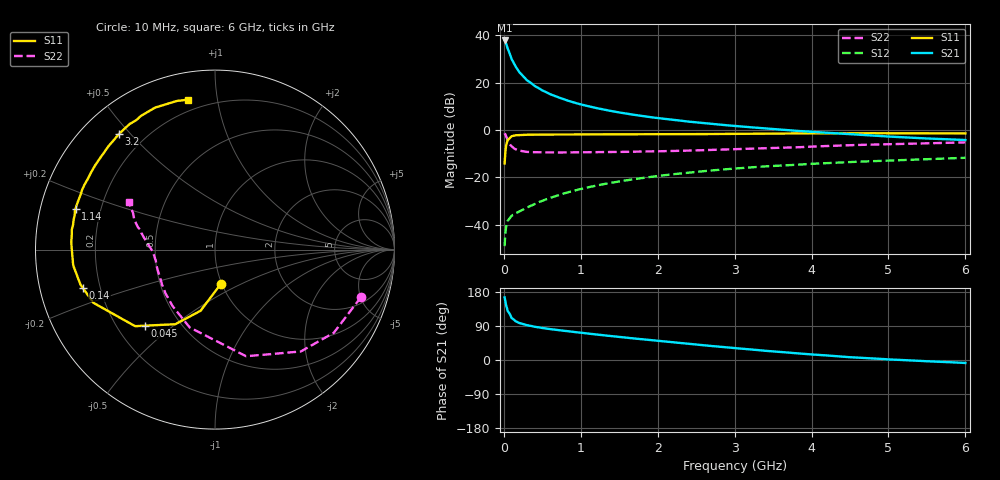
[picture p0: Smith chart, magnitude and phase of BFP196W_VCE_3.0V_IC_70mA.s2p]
! Infineon Technologies  Discrete & RF Semiconductors
! BFP196W
! VCE = 3.0 V,  IC =  70mA
! Common Emitter S-Parameters:  Jan 2016
# GHz  S  MA  R  50
!  f  S11  S21  S12  S22
! GHz  MAG  ANG  MAG  ANG  MAG  ANG  MAG  ANG
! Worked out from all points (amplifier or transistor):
!   210 points, 10 MHz to 6 GHz, reference 50 ohm
!   highest |S21| = 37.9 dB at 10 MHz (marker M1)
!   |S21| within 3 dB of that: start of sweep to 45.73 MHz
!   unconditionally stable (mu >= 1): 509.8 MHz to 3.371 GHz; 3.745 GHz to 3.831 GHz
!   at 185 MHz: K = 0.65, MSG = 30.0 dB, |S12| = -34.7 dB
!   at 1.52 GHz: K = 1.11, MAG = 12.5 dB, |S12| = -21.6 dB
!   at 6 GHz: K = 0.98, MSG = 3.8 dB, |S12| = -11.7 dB
!   S11 on the Smith chart (normalised r, x): 10 MHz: 0.98, -0.40; 45 MHz: 0.32, -0.40; 140 MHz: 0.14, -0.14; 1.14 GHz: 0.11, +0.14; 3.2 GHz: 0.11, +0.46; 6 GHz: 0.14, +0.83
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0.01  0.1958 -80.9  78.38 165.2  0.0035 73.0  0.8555 -18.0
0.02  0.3504 -103.3  74.13 154.2  0.0068 68.3  0.808 -35.0
0.03  0.4708 -118.0  67.05 144.1  0.009 60.1  0.7421 -49.9
0.045  0.5753 -132.5  55.96 133.5  0.0112 50.9  0.6381 -67.0
0.05  0.6164 -136.2  52.81 129.0  0.012 48.6  0.6187 -73.8
0.1  0.7398 -156.4  31.85 111.0  0.0153 40.9  0.4557 -108.1
0.14  0.7662 -163.7  24.06 104.6  0.0168 42.0  0.402 -122.8
0.15  0.7746 -165.4  22.18 102.3  0.0172 42.3  0.3933 -127.0
0.2  0.7844 -170.3  16.84 97.7  0.0189 45.3  0.368 -138.5
0.24  0.7926 -173.0  14.28 95.1  0.0204 47.3  0.3577 -144.1
0.3  0.795 -175.9  11.33 91.9  0.0229 50.9  0.3452 -151.3
0.4  0.7978 180.0  8.567 87.7  0.0272 55.6  0.3401 -158.0
0.6  0.8014 174.5  5.746 81.6  0.0367 60.5  0.3363 -165.9
0.8  0.8026 170.0  4.335 76.5  0.0465 62.9  0.336 -169.7
1.02  0.8057 165.9  3.416 71.6  0.0576 63.9  0.3386 -172.8
1.14  0.8099 163.6  3.079 68.8  0.0637 63.9  0.3397 -174.0
2.02  0.813 148.4  1.775 50.2  0.1075 59.3  0.3558 179.4
3.1  0.8333 131.4  1.182 29.8  0.1575 49.7  0.3975 171.1
3.2  0.8369 129.9  1.148 27.9  0.1618 48.8  0.402 170.4
4.1  0.8521 117.8  0.899 13.4  0.1963 40.7  0.4531 163.0
5.1  0.8546 107.4  0.715 0.7  0.2295 32.4  0.5069 155.2
6  0.8482 100.1  0.615 -7.8  0.2588 25.9  0.5476 150.8
